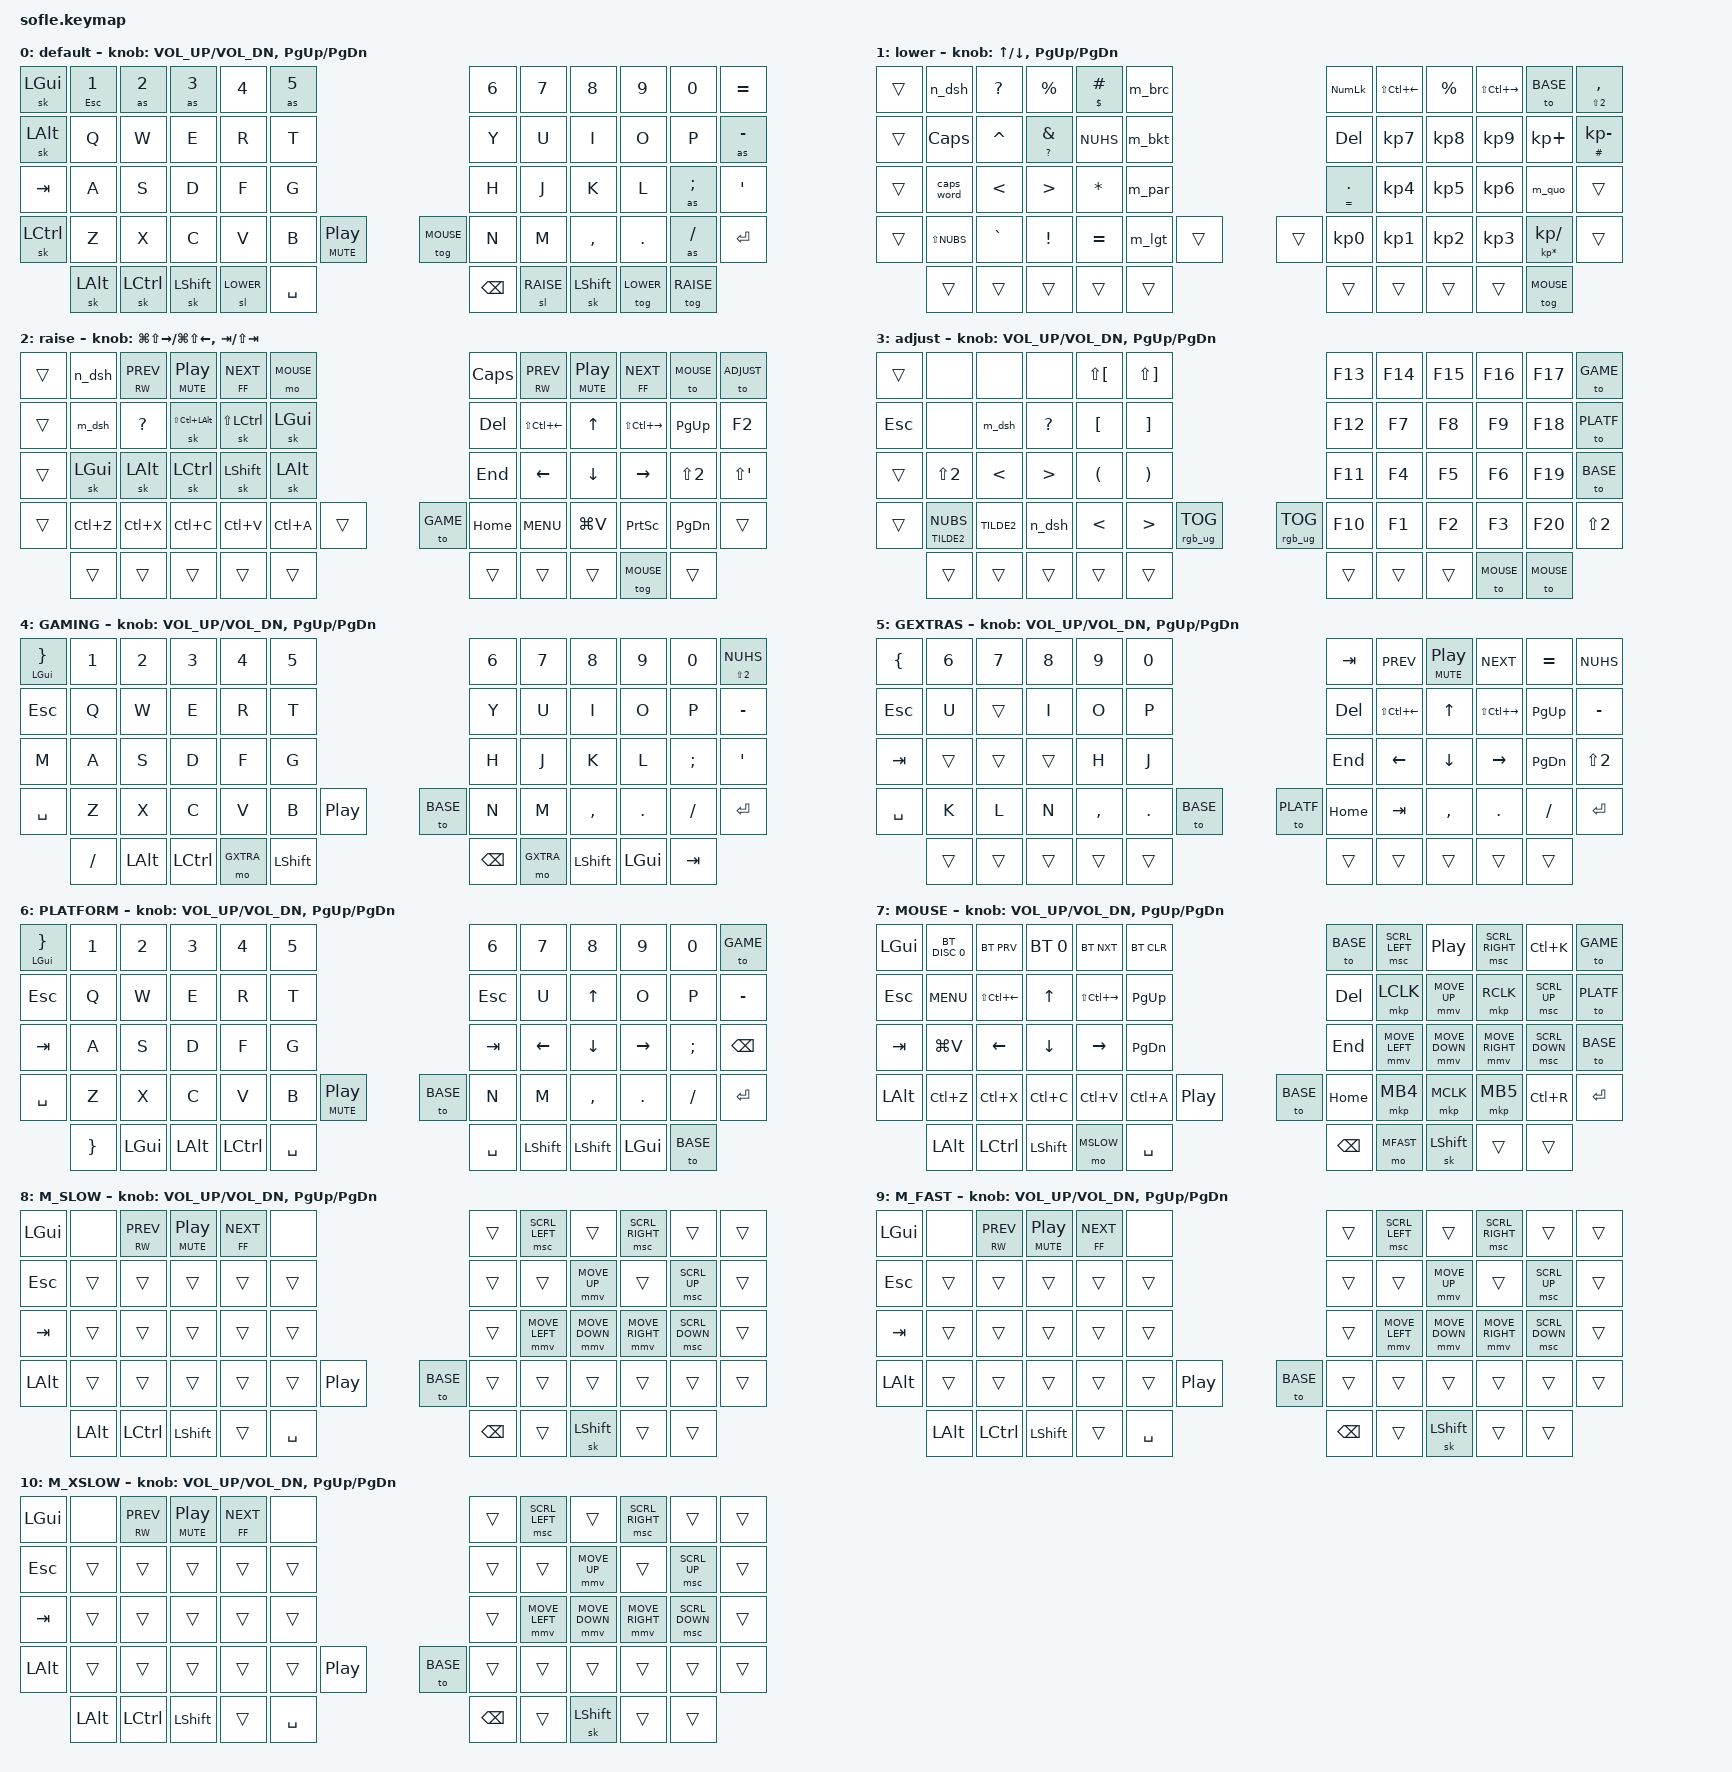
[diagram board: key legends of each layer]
/*
 * Copyright (c) 2020 The ZMK Contributors
 *
 * SPDX-License-Identifier: MIT
 */

/*
 * OFF <-- Left --> ON
 *
 * OFF <-- Right --> ON
 */

#include <behaviors.dtsi>
#include <dt-bindings/zmk/keys.h>
#include <dt-bindings/zmk/bt.h>
#include <dt-bindings/zmk/rgb.h>
#include <dt-bindings/zmk/ext_power.h>

/* Define default pointing values before including pointing.h to prevent macro redefinition warnings */
#define ZMK_POINTING_DEFAULT_MOVE_VAL 1000  // default: 600
#define ZMK_POINTING_DEFAULT_SCRL_VAL 20  // default: 10

#include <dt-bindings/zmk/pointing.h>
#include <input/processors.dtsi>




#define BASE 0
#define LOWER 1
#define RAISE 2
#define ADJUST 3
#define GAME 4
#define GXTRA 5
#define PLATF 6
#define MOUSE 7
#define MSLOW 8
#define MFAST 9
#define MXSLOW 10

&led_strip {
    chain-length = <36>;
};

&nice_view_spi {
    cs-gpios = <&pro_micro 4 GPIO_ACTIVE_HIGH>;
};




&mmv {
    time-to-max-speed-ms = <120>;
    acceleration-exponent = <6>;
};

&msc {
    time-to-max-speed-ms = <80>;
    acceleration-exponent = <10>;
};

&mmv_input_listener {
    set_mfast {
        layers = <MFAST>;
        input-processors = <&zip_xy_scaler 2 1>;
    };
};

&mmv_input_listener {
    set_mslow {
        layers = <MSLOW>;
        input-processors = <&zip_xy_scaler 1 2>;
    };
};

&mmv_input_listener {
    set_mxslow {
        layers = <MXSLOW>;
        input-processors = <&zip_xy_scaler 1 4>;
    };
};





/ {
    // 1. BEHAVIORS BLOCK
    behaviors {
        as_ht: autoshift_hold_tap {
            compatible = "zmk,behavior-hold-tap";
            label = "AUTOSHIFT_HOLD_TAP";
            #binding-cells = <2>;
            tapping-term-ms = <148>;
            quick-tap-ms = <0>;
            flavor = "tap-preferred";
            require-prior-idle-ms = <80>;
            bindings = <&shifted>, <&kp>;
        };


    // add here



         // Standard hold-tap behavior engineered to support layer parameters
         // This natively satisfies Zephyr's binding verification engine
  /*     layer_ht: layer_hold_tap {
   *         compatible = "zmk,behavior-hold-tap";
   *         #binding-cells = <2>;
   *         tapping-term-ms = <200>;
   *         flavor = "hold-preferred";
   *         bindings = <&mo>, <&sl>; // Hold = Momentary Layer, Tap = Sticky Layer
   *      };
   */
         // Clean, zero-parameter Tap-Dance nodes mapping straight to the helper driver
   /*    td_lower: lower_tap_toggle {
    *        compatible = "zmk,behavior-tap-dance";
    *        #binding-cells = <0>;
    *        tapping-term-ms = <200>;
    *        bindings = <&layer_ht LOWER LOWER>, <&tog LOWER>;
    *       };
    *
    *  td_raise: raise_tap_toggle {
    *       compatible = "zmk,behavior-tap-dance";
    *        #binding-cells = <0>;
    *        tapping-term-ms = <200>;
    *        bindings = <&layer_ht RAISE RAISE>, <&tog RAISE>;
    *       };
    *
    *    td_mouse: mouse_tap_toggle {
    *        compatible = "zmk,behavior-tap-dance";
    *        #binding-cells = <0>;
    *        tapping-term-ms = <200>;
    *        bindings = <&layer_ht MOUSE MOUSE>, <&tog MOUSE>;
    *    };
    */
    };



    // 2. MACROS BLOCK
    macros {

    // Add this inside your macros { ... } block

        shifted: macro_shifted_kp {
            #binding-cells = <1>;
            label = "MACRO_SHIFTED_KP";
            compatible = "zmk,behavior-macro-one-param";
            bindings =
                <&macro_press>,
                <&kp LSHFT &macro_param_1to1>,
                <&macro_tap>,
                <&kp MACRO_PLACEHOLDER>,
                <&macro_release>,
                <&kp LSHFT>;
        };

        as: autoshift {
            compatible = "zmk,behavior-macro-one-param";
            #binding-cells = <1>;
            label = "AUTOSHIFT_KP";
            bindings =
                <&macro_press>,
                <&macro_param_1to1 &macro_param_1to2 &as_ht MACRO_PLACEHOLDER MACRO_PLACEHOLDER>,
                <&macro_pause_for_release>,
                <&macro_release>,
                <&macro_param_1to1 &macro_param_1to2 &as_ht MACRO_PLACEHOLDER MACRO_PLACEHOLDER>;
        };

        
        // New Em Dash macro configured safely for Windows -- call it lowercase &m_dash - only the label is called uppercase
        m_dsh: em_dash {
            compatible = "zmk,behavior-macro";
            #binding-cells = <0>;
            label = "M_DSH";
            wait-ms = <40>;
            tap-ms = <40>;
            bindings = 
                <&macro_press>, <&kp LALT>,
                <&macro_tap>, <&kp KP_N0 &kp KP_N1 &kp KP_N5 &kp KP_N1>,
                <&macro_release>, <&kp LALT>;
    };

        
        // New En Dash macro configured safely for Windows
        n_dsh: en_dash {
            compatible = "zmk,behavior-macro";
            #binding-cells = <0>;
            label = "N_DSH";
            wait-ms = <40>;
            tap-ms = <40>;
            bindings = 
                <&macro_press>, <&kp LALT>,
                <&macro_tap>, <&kp KP_N0 &kp KP_N1 &kp KP_N5 &kp KP_N0>,
                <&macro_release>, <&kp LALT>;
    };

         m_par: macro_parenthesis {
            label = "M_PAR";
            compatible = "zmk,behavior-macro";
            #binding-cells = <0>;
            tap-ms = <30>;
            wait-ms = <10>;
            bindings = <&macro_tap &kp LPAR &kp RPAR &kp LEFT>;
        };

         m_bkt: macro_brackets {
            label = "M_BKT";
            compatible = "zmk,behavior-macro";
            #binding-cells = <0>;
            tap-ms = <30>;
            wait-ms = <10>;
            bindings = <&macro_tap &kp LBKT &kp RBKT &kp LEFT>;
        };

         m_brc: macro_braces {
            label = "M_BRC";
            compatible = "zmk,behavior-macro";
            #binding-cells = <0>;
            tap-ms = <30>;
            wait-ms = <10>;
            bindings = <&macro_tap &kp LS(LBKT) &kp LS(RBKT) &kp LEFT>;
        };

         m_lgt: macro_chevron_angle_brackets {
            label = "M_LGT";
            compatible = "zmk,behavior-macro";
            #binding-cells = <0>;
            tap-ms = <30>;
            wait-ms = <10>;
            bindings = <&macro_tap &kp LT &kp GT &kp LEFT>;
        };

         m_quo: macro_s_quotes {
            label = "M_QUO";
            compatible = "zmk,behavior-macro";
            #binding-cells = <0>;
            tap-ms = <30>;
            wait-ms = <10>;
            bindings = 
                <&macro_press>, <&kp LSHFT>,
                <&macro_tap>, <&kp N2 &kp N2>,
                <&macro_release>, <&kp LSHFT>,
                <&macro_tap>, <&kp LEFT>;
        };



    };

    // Your existing keymap code continues below...



   // The conditional_layers block has been safely isolated and commented out here
   
    conditional_layers {
        compatible = "zmk,conditional-layers";

        adjust_layer {
            if-layers = <LOWER RAISE>;
            then-layer = <ADJUST>;
        };

        mxslow_layer {
            if-layers = <MSLOW MFAST>;
            then-layer = <MXSLOW>;
        };
    };
   


    keymap {
        compatible = "zmk,keymap";

        default_layer {
            display-name = "default";

/*
 * QWERTY / DEFAULT / BASE
 * ,-----------------------------------------.                    ,-----------------------------------------.
 * | GUI  |   1  |   2  |   3  |   4  |   5  |                    |   6  |   7  |   8  |   9  |   0  | 	= + |
 * |------+------+------+------+------+------|                    |------+------+------+------+------+------|
 * |LALT  |   Q  |   W  |   E  |   R  |   T  |                    |   Y  |   U  |   I  |   O  |   P  |  - _ |           
 * |------+------+------+------+------+------|                    |------+------+------+------+------+------|
 * | TAB  |   A  |   S  |   D  |   F  |   G  |-------.    ,-------|   H  |   J  |   K  |   L  |  ; : | ' @  |
 * |------+------+------+------+------+------|PP MUTE|    | MOUSE |------+------+------+------+------+------|
 * |LCTRL |   Z  |   X  |   C  |   V  |   B  |       |    |   TOG |   N  |   M  | , <  | .  > | /  ? | ENTER|
 * `-----------------------------------------/-------/    \-------\-----------------------------------------'
 *            |LALT  |LCTRL |SHIFT |LOWER | /SPACE  /      \BCKSP  \  |RAISE |SHIFT | LOWER | RAISE|
 *            |      |      |      |      |/       /        \       \ |      |      |    TOG|   TOG|
 *            `-----------------------------------'          '-------''----------------------------'
 */
            bindings = <
            &sk LGUI &mt ESC N1  &as N2   &as N3   &kp N4    &as N5                              &kp N6 &kp N7 &kp N8    &kp N9   &kp N0   &kp EQUAL
                &sk LALT  &kp Q  &kp W    &kp E    &kp R     &kp T                               &kp Y  &kp U  &kp I     &kp O    &kp P    &as MINUS
                &kp TAB   &kp A  &kp S    &kp D    &kp F     &kp G                               &kp H  &kp J  &kp K     &kp L    &as SEMI &kp SQT
                &sk LCTRL &kp Z  &kp X    &kp C    &kp V     &kp B &mt C_MUTE C_PP    &tog MOUSE &kp N  &kp M  &kp COMMA &kp DOT  &as FSLH &kp RET
                        &sk LALT &sk LCTRL &sk LSHFT &sl LOWER  &kp SPACE                &kp BSPC  &sl RAISE  &sk LSHFT   &tog LOWER &tog RAISE
            >;
            sensor-bindings = <
                &inc_dec_kp C_VOL_UP C_VOL_DN 
                &inc_dec_kp PG_UP PG_DN
                >;
        };

        lower_layer {
            display-name = "lower";
/* LOWER 1
 * ,-----------------------------------------.                    ,-----------------------------------------.
 * | GUI  |  –   |   ?  |   %  |  £   |  {_} |                    | NUMLK| L.SEL|   %  |R.SEL |  BASE| LOWER|
 * |      | n_dsh|      |      |   $  |      |                    |      |      |      |      |      |      |
 * |------+------+------+------+------+------|                    |------+------+------+------+------+------|
 * | ALT  | CAPS |   ^  |  &   |   #  |  [_] |                    |DELETE|   7  |  8   |  9   |   +  |  -  _|
 * |      |      |      |   ?  |      |      |                    |      | HOME |  Up  | P UP |      |   £  |
 * |------+------+------+------+------+------|                    |------+------+------+------+------+------|
 * | TAB  | CAPS |  <   |  >   |   *  |  (_) |-------.    ,-------|  .   |   4  |  5   |  6   |  "_" |  ' @ |
 * |      | WORD |      |      |      |      |PP MUTE|    | MOUSE |    = | Left |      | Right|      |      |
 * |------+------+------+------+------+------|MW-SCRL|    |   TOG |------+------+------+------+------+------|
 * |LCTR  |   |  |  `   |  !   |   =  |  <_> |-------|    |-------|  0   |   1  |  2   |  3   |  /   | ENTER|
 * |      |      |      |      |      |      |                    |INSERT| END  | Down |P DOWN|   *  |      |
 * `-----------------------------------------/       /    \      \------------------------------------------'
 *            | ALT  | CTRL |SHIFT |LOWER | /SPACE  /      \BCKSP \  |      | SHIFT|   TO | MOUSE|
 *            |  sk  |  sk  |  sk  |     |/       /         \      \ |      |      | BASE |   TOG|
 *            `----------------------------------'           '------''---------------------------'
 */
            bindings = <
                &trans &n_dsh &kp QMARK &kp PRCNT &mt DLLR POUND  &m_brc             &kp KP_NUM    &kp LS(LC(LEFT)) &kp PRCNT &kp LS(LC(RIGHT))  &to BASE &mt LS(N2) COMMA
                &trans &kp CAPS &kp CARET &mt QMARK AMPS  &kp NUHS  &m_bkt                  &kp DEL       &kp KP_N7 &kp KP_N8 &kp KP_N9   &kp KP_PLUS   &mt POUND KP_MINUS
                &trans &caps_word   &kp LT    &kp GT   &kp STAR  &m_par                   &mt EQUAL DOT &kp KP_N4 &kp KP_N5 &kp KP_N6   &m_quo    &trans
                &trans &kp LS(NUBS) &kp GRAVE &kp EXCL &kp EQUAL &m_lgt &trans     &trans &kp KP_N0     &kp KP_N1 &kp KP_N2 &kp KP_N3   &mt KP_ASTERISK KP_SLASH &trans
                           &trans    &trans      &trans    &trans   &trans                &trans  &trans    &trans   &trans &tog MOUSE
            >;
            sensor-bindings = <
                &inc_dec_kp UP DOWN
                &inc_dec_kp PG_UP PG_DN
            >;
        };

        raise_layer {
            display-name = "raise";
/* RAISE 2
 * ,-----------------------------------------.                     ,-----------------------------------------.
 * | GUI  |  –   | NEXT |PL/USE | PREV | MOUSE|                    | CAPS | NEXT |PL/USE| PREV | MOUSE|ADJUST|
 * |      |n_dash|FORWRD|  MUTE |REWIND|    mo|                    |      |FORWRD| MUTE |REWIND|    to|    to|
 * |------+------+------+-------+------+------|                    |------+------+------+------+------+------|
 * | ALT  |  —   |  ?   |SHIFT  |SHIFT |  GUI |                    |DELETE|L.SEL |   ^  |R.SEL | P UP |  F2  |
 * |      |m_dash|      |CTL ALT| CTRL |      |                    |      |      |      |      |      |      |
 * |------+------+------+-------+------+------|                    |------+------+------+------+------+------|
 * | TAB  | LGUI |  ALT |  CTRL | SHIFT| ALT  |-------.    ,-------|  END |  <-  |   v  |  ->  |   "  |   @  |
 * |------+------+------+-------+------+------|PP MUTE|    | GAME  |------+------+------+------+------+------|
 * |      |      |      |       |      |      |Win-Snap| |TAB-LA/LC|      |      | WIN  |      |      |      |
 * | CTRL | UNDO | CUT  | COPY  |PASTE |SELECT|-------|    |-------| HOME | Menu |PASTE+| PRSCN|P DOWN| ENTER|
 * `------------------------------------------/       /     \      \-----------------------------------------'
 *            | ALT  | CTRL |SHIFT |LOWER  | /SPACE  /       \BCKSP \  |RAISE | ENTER| MOUSE| BASE |
 *            |      |      |      |       |/       /         \      \ |      |      |   TOG|    TO|
 *            `------------------------------------'           '------''---------------------------'
 */
            bindings = <
      &trans &n_dsh &mt C_RW C_PREV &mt C_MUTE C_PP &mt C_FF C_NEXT &mo MOUSE          &kp CAPS &mt C_RW C_PREV  &mt C_MUTE C_PP &mt C_FF C_NEXT &to MOUSE &to ADJUST
             &trans &m_dsh &kp QMARK &sk LS(LC(LALT)) &sk LS(LCTRL) &sk LGUI           &kp DEL &kp LS(LC(LEFT))  &kp UP &kp LS(LC(RIGHT))     &kp PG_UP &kp F2
             &trans &sk LGUI &sk LALT &sk LCTRL       &sk LSHFT     &sk LALT           &kp END  &kp LEFT         &kp DOWN  &kp RIGHT          &kp LS(N2) &kp LS(SQT)
          &trans &kp LC(Z) &kp LC(X) &kp LC(C) &kp LC(V) &kp LC(A)  &trans    &to GAME &kp HOME &kp C_MENU       &kp LG(V) &kp PSCRN          &kp PG_DN &trans
                                         &trans  &trans  &trans  &trans  &trans             &trans  &trans  &trans  &tog MOUSE  &trans
            >;
            sensor-bindings = <
                &inc_dec_kp LG(LS(RIGHT)) LG(LS(LEFT)) // Snaps the chosen window to the monitor on your ->right/<-left
                &inc_dec_kp TAB LS(TAB)               // ALT: <-backward/forward-> through all your monitors' open programs. CTRL: <-backward/forward-> through open tabs  -- Ctrl + Alt + Tab: persistent window, no hold
            >;
        };

        adjust_layer {
/* ADJUST 3
 * ,-----------------------------------------.                    ,-----------------------------------------.
 * | GUI  |      |      |      |   {  |  }   |                    | F13  |  F14 |  F15 |  F16 |  F17 | GAME |
 * |------+------+------+------+------+------|                    |------+------+------+------+------+------|
 * | ESC  |      |   —  |   ?  |   [  |  ]   |                    | F12  | 	F7  |  F8  |  F9  |	 F18 | BASE |
 * |------+------+------+------+------+------|                    |------+------+------+------+------+------|
 * | TAB  |  "   |   <  |  >   |   (  |  )   |-------.    ,-------| F11  |  F4  |  F5  |  F6  |  F19 | NUMLK|
 * |------+------+------+------+------+------|MIPS OFF|  |MIPS OFF|------+------+------+------+------+------|
 * |      |  \   |   ~  |   –  |   <  |  >   |-------|    |-------| F10  |  F1  |  F2  |  F3  |	 F20 |   "  |
 * |      |   ~  |      |      |      |      |                    |      |      |      |      |      |      |
 * `-----------------------------------------/       /     \      \-----------------------------------------'
 *            | ALT  | CTRL |SHIFT |LOWER | /SPACE  /       \BCKSP \  |      | ENTER| MOUSE| MOUSE|
 *            |      |      |      |      |/       /         \      \ |      |      |    TO|    TO|
 *            `----------------------------------'           '------''---------------------------'
 */
            display-name = "adjust";
            bindings = <
            &trans &none &none &none   &kp LS(LBKT) &kp LS(RBKT)                             &kp F13 &kp F14 &kp F15 &kp F16 &kp F17  &to GAME
            &kp ESC &none  &m_dsh  &kp QMARK &kp LBKT &kp RBKT                               &kp F12 &kp F7 &kp F8 &kp F9 &kp F18     &to PLATF
            &trans &kp LS(N2) &kp LT &kp GT   &kp LPAR &kp RPAR                              &kp F11 &kp F4 &kp F5 &kp F6 &kp F19     &to BASE
&trans &mt TILDE2 NUBS &kp TILDE2 &n_dsh &kp LT  &kp GT &rgb_ug RGB_TOG      &rgb_ug RGB_TOG &kp F10 &kp F1 &kp F2 &kp F3 &kp F20     &kp LS(N2)
                         &trans &trans  &trans &trans  &trans                                  &trans  &trans &trans &to MOUSE &to MOUSE
            >;
            sensor-bindings = <
                &inc_dec_kp C_VOL_UP C_VOL_DN 
                &inc_dec_kp PG_UP PG_DN
            >;
        };

        game_layer {
  /* GAMING 4
 * ,-----------------------------------------.                    ,-----------------------------------------.
 * |  [   |   1  |   2  |   3  |   4  |   5  |                    |   6  |   7  |   8  |   9  |  0   |   #  |
 * |------+------+------+------+------+------|                    |------+------+------+------+------+------|
 * | ESC  |   Q  |   W  |   E  |   R  |   T  |                    |   Y  |   U  |   I  |   O  |   P  |  - _ |
 * |------+------+------+------+------+------|                    |------+------+------+------+------+------|
 * |  M   |   A  |   S  |   D  |   F  |   G  |-------.    ,-------|   H  |   J  |   K  |   L  |   ;  |  '@  |
 * |------+------+------+------+------+------|PLA/USE|    | BASE  |------+------+------+------+------+------|
 * |SPACE |   Z  |   X  |   C  |   V  |   B  |-------|    |-------|   N  |   M  |   ,  |   .  |   /  | ENTER|
 * `-----------------------------------------/       /     \      \-----------------------------------------'
 *            |   /  | Alt  | CTRL | RAISE| /SHIFT  /       \BCKSP \  | RAISE| SHIFT|  GUI |  TAB |
 *            |      |      |      |    MO|/       /         \      \ |    MO|      |      |      |
 *             `----------------------------------'           '------''---------------------------'
 */
            display-name = "GAMING";
            bindings = <
&mt LGUI RBRC &kp N1 &kp N2 &kp N3 &kp N4 &kp N5                        &kp N6 &kp N7 &kp N8  &kp N9      &kp N0   &mt LS(N2) NUHS
 &kp ESC      &kp Q &kp W &kp E &kp R &kp T                             &kp Y &kp U &kp I     &kp O       &kp P    &kp MINUS
 &kp M        &kp A &kp S &kp D &kp F &kp G                             &kp H &kp J &kp K     &kp L       &kp SEMI &kp SQT
 &kp SPACE    &kp Z &kp X &kp C &kp V &kp B  &kp C_PP          &to BASE &kp N &kp M &kp COMMA &kp DOT     &kp FSLH &kp RET
    &kp FSLH &kp LALT &kp LCTRL &mo GXTRA &kp LSHFT              &kp BSPC &mo GXTRA &kp LSHFT &kp LGUI &kp TAB
            >;
            sensor-bindings = <
                &inc_dec_kp C_VOL_UP C_VOL_DN 
                &inc_dec_kp PG_UP PG_DN
            >;
        };

        gxtra_layer {
/* GEXTRAS GAMING EXTRAS 5
* ,-----------------------------------------.                    ,-----------------------------------------.
 * |   ]  |   6  |   7  |   8  |   9  |   0  |                    |  TAB | PREV | STOP | NEXT |  = + |  #   |
 * |------+------+------+------+------+------|                    |------+------+------+------+------+------|
 * | ESC  |   U  |   W  |   I  |   O  |   P  |                    |  DEL |L.SEL |  UP  | R.SEL| PGUP |  -   |
 * |------+------+------+------+------+------|                    |------+------+------+------+------+------|
 * | TAB  |   A  |   S  |   D  |   H  |   J  |-------.    ,-------|  END | LEFT | DOWN | RIGHT| PGDN |  "   |
 * |------+------+------+------+------+------| BASE  |    |PLATFRM|------+------+------+------+------+------|
 * |SPACE |   K  |   L  |   N  |   ,  |   .  |-------|    |-------| HOME |  TAB |   ,  |   .  |   /  | ENTER|
 * `-----------------------------------------/       /     \      \-----------------------------------------'
 *            |   /  | ALT  | CTRL | LOWER| /SHIFT  /       \BCKSP \  | LOWER| SHIFT|  GUI |   TAB|
 *            |      |      |      |    MO|/       /         \      \ |    MO|      |      |      |
 *             `----------------------------------'           '------''---------------------------'
 */
            display-name = "GEXTRAS";
            bindings = <
 &kp LBRC &kp N6 &kp N7 &kp N8 &kp N9    &kp N0                       &kp TAB &kp C_PREV &mt C_MUTE C_PP &kp C_NEXT     &kp EQUAL &kp NUHS
  &kp ESC &kp U  &trans &kp I  &kp O     &kp P                        &kp DEL &kp LS(LC(LEFT)) &kp UP &kp LS(LC(RIGHT)) &kp PG_UP &kp MINUS
  &kp TAB &trans &trans &trans &kp H     &kp J                        &kp END  &kp LEFT        &kp DOWN  &kp RIGHT      &kp PG_DN &kp LS(N2)
&kp SPACE &kp K  &kp L  &kp N  &kp COMMA &kp DOT &to BASE   &to PLATF &kp HOME &kp TAB         &kp COMMA &kp DOT        &kp FSLH  &kp RET
               &trans &trans &trans &trans &trans                 &trans &trans &trans &trans &trans
            >;
            sensor-bindings = <
                &inc_dec_kp C_VOL_UP C_VOL_DN 
                &inc_dec_kp PG_UP PG_DN
            >;
        };

        platf_layer {
/* PLATFORMER 6
 * ,-----------------------------------------.                    ,-----------------------------------------.
 * |  [   |   1  |   2  |   3  |   4  |   5  |                    |   6  |   7  |   8  |   9  |  0   | TO 5 |
 * |------+------+------+------+------+------|                    |------+------+------+------+------+------|
 * | ESC  |   Q  |   W  |   E  |   R  |   T  |                    | ESC  |   U  |  UP  |   O  |   P  |  - _ |
 * |------+------+------+------+------+------|                    |------+------+------+------+------+------|
 * | TAB  |   A  |   S  |   D  |   F  |   G  |-------.    ,-------| TAB  | LEFT | DOWN | RIGHT|   ;  | BCKSP|
 * |------+------+------+------+------+------|PP_MUTE|    | BASE  |------+------+------+------+------+------|
 * |SPACE |   Z  |   X  |   C  |   V  |   B  |-------|    |-------|   N  |   M  |   ,  |   .  |   /  | ENTER|
 * `-----------------------------------------/       /     \      \-----------------------------------------'
 *            |   ]  | GUI  |  ALT | CTRL | /SPACE  /       \SPACE \  |SHIFT | SHIFT| LGUI | BASE |
 *            |      |      |      |      |/       /         \      \ |      |      |      |      |
 *             `----------------------------------'           '------''---------------------------'
 */
            display-name = "PLATFORM";
            bindings = <
 &mt LGUI RBRC &kp N1 &kp N2 &kp N3 &kp N4 &kp N5                  &kp N6  &kp N7   &kp N8   &kp N9    &kp N0   &to GAME
  &kp ESC &kp Q &kp W &kp E &kp R &kp T                            &kp ESC &kp U    &kp UP   &kp O     &kp P    &kp MINUS
  &kp TAB &kp A &kp S &kp D &kp F &kp G                            &kp TAB &kp LEFT &kp DOWN &kp RIGHT &kp SEMI &kp BSPC
&kp SPACE &kp Z &kp X &kp C &kp V &kp B &mt C_MUTE C_PP   &to BASE &kp N   &kp M    &kp COMMA &kp DOT  &kp FSLH &kp RET
   &kp RBRC &kp LGUI &kp LALT &kp LCTRL &kp SPACE            &kp SPACE &kp LSHFT &kp LSHFT &kp LGUI &to BASE
            >;
            sensor-bindings = <
                &inc_dec_kp C_VOL_UP C_VOL_DN 
                &inc_dec_kp PG_UP PG_DN
            >;
        };

        mouse_layer {
 /*
 * Mouse & Media 7
 * ,-----------------------------------------.                    ,-----------------------------------------.
 * | GUI  |BDIS 0|BT_PRV| BT 0 |BT_NXT|B_CLR |                    | BASE | MWl.L|PLA/SE|MWl.R |Search| GAME |
 * |------+------+------+------+------+------|                    |------+------+------+------+------+------|
 * | ESC  | MENU | R.SEL|   ^  |L.SEL | P_UP |                    |DELETE| LCLK | M Up | RCLK |WheelU|PLATFM|
 * |------+------+------+------+------+------|                    |------+------+------+------+------+------|
 * | TAB  |WIN_P+| <--  |   v  |  --> |P_DOWN|-------.    ,-------|END   |M Left|M Down|M Rigt|WheelD| BASE |
 * |------+------+------+------+------+------|  PLAY |    | BASE  |------+------+------+------+------+------|
 * | ALT  | UNDO |  CUT | COPY |PASTE |SELECT|-------|    |-------|HOME  |  MB4 |Middle| MB5  |Reload| ENTER|
 * |      |      |      |      |      |      |       |    |       |      |Br_Bck|      |Br_Fwd|      |      |
 * `-----------------------------------------/       /     \      \-----------------------------------------'
 *            |  ALT | CTRL |SHIFT |MSLOW | /SPACE  /       \BCKSP \  |MFAST | SHIFT| MOUSE| MOUSE|
 *            |      |      |      |mo    |/       /         \      \ |mo    |      |    TG|    TG|
 *             `----------------------------------'           '------''---------------------------'
 */
            display-name = "MOUSE";
            bindings = <
&kp LGUI &bt BT_DISC 0 &bt BT_PRV &bt BT_SEL 0 &bt BT_NXT &bt BT_CLR             &to BASE &msc SCRL_LEFT &kp C_PP       &msc SCRL_RIGHT &kp LC(K)      &to GAME
 &kp ESC &kp C_MENU &kp LS(LC(LEFT)) &kp UP &kp LS(LC(RIGHT)) &kp PG_UP          &kp DEL  &mkp LCLK      &mmv MOVE_UP   &mkp RCLK       &msc SCRL_UP   &to PLATF
 &kp TAB  &kp LG(V) &kp LEFT  &kp DOWN  &kp RIGHT &kp PG_DN                      &kp END  &mmv MOVE_LEFT &mmv MOVE_DOWN &mmv MOVE_RIGHT &msc SCRL_DOWN &to BASE
 &kp LALT &kp LC(Z) &kp LC(X) &kp LC(C) &kp LC(V) &kp LC(A) &kp C_PP    &to BASE &kp HOME &mkp MB4       &mkp MCLK      &mkp MB5        &kp LC(R)      &kp RET
               &kp LALT &kp LCTRL &kp LSHFT &mo MSLOW &kp SPACE             &kp BSPC &mo MFAST &sk LSHFT &trans &trans
            >;
            sensor-bindings = <
                &inc_dec_kp C_VOL_UP C_VOL_DN 
                &inc_dec_kp PG_UP PG_DN
            >;
        };

        mslow_layer {
 /*
 * MSLOW 8
 * ,-----------------------------------------.                    ,-----------------------------------------.
 * | GUI  |      |RW_PRV|P-MUTE|NXT_FF|      |                    | BASE | MWl.L|PLA/SE|MWl.R |Search| GAME |
 * |------+------+------+------+------+------|                    |------+------+------+------+------+------|
 * | ESC  | MENU | R.SEL|   ^  |L.SEL | P_UP |                    |DELETE| LCLK | M Up | RCLK |WheelU|PLATFM|
 * |------+------+------+------+------+------|                    |------+------+------+------+------+------|
 * | TAB  |WIN_P+| <--  |   v  |  --> |P_DOWN|-------.    ,-------|END   |M Left|M Down|M Rigt|WheelD| BASE |
 * |------+------+------+------+------+------|PLA/USE|    | BASE  |------+------+------+------+------+------|
 * | ALT  | UNDO |  CUT | COPY |PASTE |SELECT|-------|    |-------|HOME  |  MB4 |Middle| MB5  |Reload| ENTER|
 * |      |      |      |      |      |      |                    |      |Br_Bck|      |Br_Fwd|      |      |
 * `-----------------------------------------/       /     \      \-----------------------------------------'
 *            |  ALT | CTRL |SHIFT |      | /SPACE  /       \BCKSP \  |      | SHIFT| MOUSE| MOUSE|
 *            |      |      |      |      |/       /         \      \ |      |      |    TG|    TG|
 *             `----------------------------------'           '------''---------------------------'
 */
            display-name = "M_SLOW";
            bindings = <
 &kp LGUI &none &mt C_RW C_PREV &mt C_MUTE C_PP &mt C_FF C_NEXT &none      &trans  &msc SCRL_LEFT &trans         &msc SCRL_RIGHT &trans         &trans
 &kp ESC  &trans &trans &trans &trans &trans                               &trans  &trans         &mmv MOVE_UP   &trans          &msc SCRL_UP   &trans
 &kp TAB  &trans &trans &trans &trans &trans                               &trans  &mmv MOVE_LEFT &mmv MOVE_DOWN &mmv MOVE_RIGHT &msc SCRL_DOWN &trans
 &kp LALT &trans &trans &trans &trans &trans &kp C_PP             &to BASE &trans  &trans         &trans         &trans          &trans         &trans
           &kp LALT &kp LCTRL &kp LSHFT &trans &kp SPACE               &kp BSPC &trans &sk LSHFT &trans &trans
            >;
            sensor-bindings = <
                &inc_dec_kp C_VOL_UP C_VOL_DN 
                &inc_dec_kp PG_UP PG_DN
            >;
        };

        mfast_layer {
 /*
 * MFAST 9
 * ,-----------------------------------------.                    ,-----------------------------------------.
 * | GUI  |      |RW_PRV|P-MUTE|NXT_FF|      |                    | BASE | MWl.L|PLA/SE|MWl.R |Search| GAME |
 * |------+------+------+------+------+------|                    |------+------+------+------+------+------|
 * | ESC  | MENU | R.SEL|   ^  |L.SEL | P_UP |                    |DELETE| LCLK | M Up | RCLK |WheelU|PLATFM|
 * |------+------+------+------+------+------|                    |------+------+------+------+------+------|
 * | TAB  |WIN_P+| <--  |   v  |  --> |P_DOWN|-------.    ,-------|END   |M Left|M Down|M Rigt|WheelD| BASE |
 * |------+------+------+------+------+------|PLA/USE|    | BASE  |------+------+------+------+------+------|
 * | ALT  | UNDO |  CUT | COPY |PASTE |SELECT|-------|    |-------|HOME  |  MB4 |Middle| MB5  |Reload| ENTER|
 * |      |      |      |      |      |      |                    |      |Br_Bck|      |Br_Fwd|      |      |
 * `-----------------------------------------/       /     \      \-----------------------------------------'
 *            |  ALT | CTRL |SHIFT |      | /SPACE  /       \BCKSP \  |      | SHIFT| MOUSE| MOUSE|
 *            |      |      |      |      |/       /         \      \ |      |      |    TG|    TG|
 *             `----------------------------------'           '------''---------------------------'
 */
            display-name = "M_FAST";
            bindings = <
&kp LGUI &none &mt C_RW C_PREV &mt C_MUTE C_PP &mt C_FF C_NEXT &none       &trans &msc SCRL_LEFT &trans         &msc SCRL_RIGHT &trans         &trans
 &kp ESC  &trans &trans &trans &trans &trans                               &trans &trans         &mmv MOVE_UP   &trans          &msc SCRL_UP   &trans
 &kp TAB  &trans &trans &trans &trans &trans                               &trans &mmv MOVE_LEFT &mmv MOVE_DOWN &mmv MOVE_RIGHT &msc SCRL_DOWN &trans
 &kp LALT &trans &trans &trans &trans &trans &kp C_PP             &to BASE &trans &trans         &trans         &trans          &trans         &trans
           &kp LALT &kp LCTRL &kp LSHFT &trans &kp SPACE               &kp BSPC &trans &sk LSHFT &trans &trans
            >;
            sensor-bindings = <
                &inc_dec_kp C_VOL_UP C_VOL_DN 
                &inc_dec_kp PG_UP PG_DN
            >;
        };

        mxslow_layer {
 /*
 * MXSLOW 10
 * ,-----------------------------------------.                    ,-----------------------------------------.
 * | GUI  |      |RW_PRV|P-MUTE|NXT_FF|      |                    | BASE | MWl.L|PLA/SE|MWl.R |Search| GAME |
 * |------+------+------+------+------+------|                    |------+------+------+------+------+------|
 * | ESC  | MENU | R.SEL|   ^  |L.SEL | P_UP |                    |DELETE| LCLK | M Up | RCLK |WheelU|PLATFM|
 * |------+------+------+------+------+------|                    |------+------+------+------+------+------|
 * | TAB  |WIN_P+| <--  |   v  |  --> |P_DOWN|-------.    ,-------|END   |M Left|M Down|M Rigt|WheelD| BASE |
 * |------+------+------+------+------+------|PP MUTE|    | BASE  |------+------+------+------+------+------|
 * | ALT  | UNDO |  CUT | COPY |PASTE |SELECT|-------|    |-------|HOME  |  MB4 |Middle| MB5  |Reload| ENTER|
 * |      |      |      |      |      |      |                    |      |Br_Bck|      |Br_Fwd|      |      |
 * `-----------------------------------------/       /     \      \-----------------------------------------'
 *            |  ALT | CTRL |SHIFT |      | /SPACE  /       \BCKSP \  |      | SHIFT| MOUSE| MOUSE|
 *            |      |      |      |      |/       /         \      \ |      |      |    TG|    TG|
 *             `----------------------------------'           '------''---------------------------'
 */
            display-name = "M_XSLOW";
            bindings = <
 &kp LGUI &none &mt C_RW C_PREV &mt C_MUTE C_PP &mt C_FF C_NEXT &none      &trans &msc SCRL_LEFT &trans         &msc SCRL_RIGHT &trans         &trans
 &kp ESC  &trans &trans &trans &trans &trans                               &trans &trans         &mmv MOVE_UP   &trans          &msc SCRL_UP   &trans
 &kp TAB  &trans &trans &trans &trans &trans                               &trans &mmv MOVE_LEFT &mmv MOVE_DOWN &mmv MOVE_RIGHT &msc SCRL_DOWN &trans
 &kp LALT &trans &trans &trans &trans &trans &kp C_PP             &to BASE &trans &trans         &trans         &trans          &trans         &trans
           &kp LALT &kp LCTRL &kp LSHFT &trans &kp SPACE               &kp BSPC &trans &sk LSHFT &trans &trans
            >;
            sensor-bindings = <
                &inc_dec_kp C_VOL_UP C_VOL_DN 
                &inc_dec_kp PG_UP PG_DN
            >;
        };


    };
};
